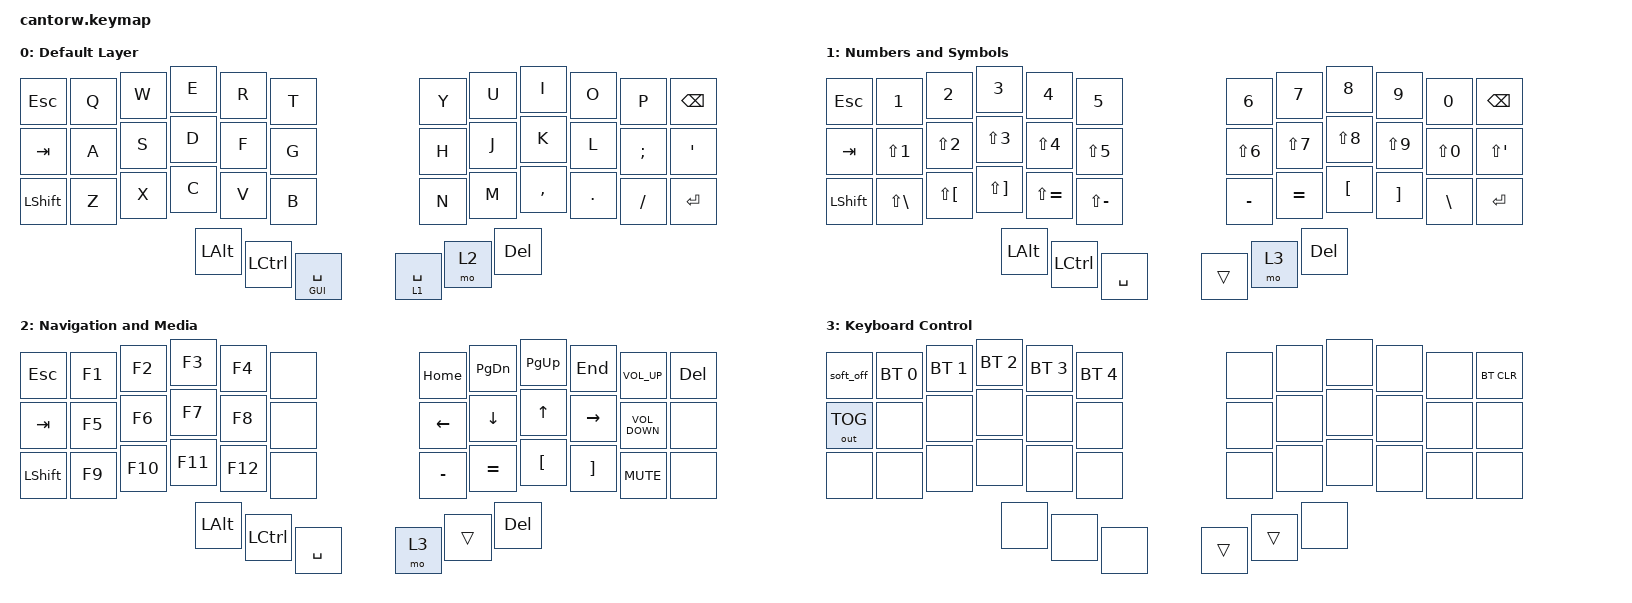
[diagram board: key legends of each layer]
#include <behaviours.dtsi>
#include <dt-bindings/zmk/keys.h>

&mt {
		tapping-term-ms = <250>;
};

/ {
	keymap {
		compatible = "zmk,keymap";

		default_layer { //LAYER 0
		
			display-name = "Default Layer";
			
				// Esc	Q	W	E	R	T		Y	U	I	O	P	Bs
				// Tab	A	S	D	F	G		H	J	K	L	;	'
				// LS	Z	X	C	V	B		N	M	,	.	/	Ent
				//				Alt	Ctl	Sup/Sp	L1/Sp	L2	Del

			bindings = <
				&kp ESC   &kp Q &kp W &kp E &kp R &kp T    &kp Y &kp U  &kp I     &kp O   &kp P    &kp BSPC
				&kp TAB   &kp A &kp S &kp D &kp F &kp G    &kp H &kp J  &kp K     &kp L   &kp SEMI &kp SQT
				&kp LSHFT &kp Z &kp X &kp C &kp V &kp B    &kp N &kp M  &kp COMMA &kp DOT &kp FSLH &kp RET
						&kp LALT &kp LCTRL &mt GUI SPACE   &lt 1 SPACE &mo 2 &kp DEL
			>;
		};
		
		raise_layer { //LAYER 1
		
			display-name = "Numbers and Symbols";
			
				// Esc	1	2	3	4	5		6	7	8	9	0	Bs
				// Tab	!	@	#	$	%		^	&	*	(	)	"
				// LS	|	{	}	+	_		-	=	[	]	\	Ent
				//				Alt	Ctl	Sp		nop	 L3	 Del

			bindings = <
				&kp ESC   &kp N1       &kp N2       &kp N3       &kp N4        &kp N5         &kp N6     &kp N7     &kp N8     &kp N9       &kp N0     &kp BSPC
				&kp TAB   &kp LS(N1)   &kp LS(N2)   &kp LS(N3)   &kp LS(N4)    &kp LS(N5)     &kp LS(N6) &kp LS(N7)  &kp LS(N8)  &kp LS(N9)   &kp LS(N0) &kp LS(SQT)
				&kp LSHFT &kp LS(BSLH) &kp LS(LBKT) &kp LS(RBKT) &kp LS(EQUAL) &kp LS(MINUS)   &kp MINUS  &kp EQUAL  &kp LBKT   &kp RBKT     &kp BSLH   &kp RET
															  &kp LALT &kp LCTRL &kp SPACE    &trans &mo 3 &kp DEL
			>;
		};
		
		lower_layer { //LAYER 2
		
			display-name = "Navigation and Media";
			
				// Esc	F1	F2	F3	F4	nop		Y	U	I	O	P	Bs
				// Tab	F5	F6	F7	F8	nop		H	J	K	L	;	"
				// LS	F9	F10	F11	F12	nop		N	M	,	.	/	Ent
				//				Alt	Ctl	Sp		L3	nop	 Del

			bindings = <
				&kp ESC   &kp F1  &kp F2  &kp F3  &kp F4  &none    &kp HOME   &kp PG_DN   &kp PG_UP  &kp END     &kp K_VOL_UP   &kp DEL
				&kp TAB   &kp F5  &kp F6  &kp F7  &kp F8  &none    &kp LEFT   &kp DOWN    &kp UP    &kp RIGHT   &kp K_VOL_DOWN &none
				&kp LSHFT &kp F9  &kp F10 &kp F11 &kp F12 &none    &kp MINUS  &kp EQUAL  &kp LBKT    &kp RBKT     &kp K_MUTE     &none
								   &kp LALT &kp LCTRL &kp SPACE    &mo 3 &trans &kp DEL
			>;
		};
		
		BT_layer { //LAYER 2
		
			display-name = "Keyboard Control";
			
				// OFF			BT1	BT2	BT3	BT4	BT5		nop	nop	nop	nop	nop	BT_CLR
				// Tog output	nop	nop	nop	nop	nop		nop	nop	nop	nop	nop	nop
				// nop			nop	nop	nop	nop	nop		nop	nop	nop	nop	nop	nop
				//						nop	nop	nop		nop	nop	nop

			bindings = <
				&soft_off   	&bt BT_SEL 0   &bt BT_SEL 1  &bt BT_SEL 2  &bt BT_SEL 3  &bt BT_SEL 4    &none   &none   &none  &none  &none   &bt BT_CLR
				&out OUT_TOG    &none   	   &none  		 &none  		&none  		 &none           &none   &none   &none  &none  &none   &none
				&none   		&none   	   &none  		 &none  		&none   	 &none    		 &none   &none   &none  &none  &none   &none
															&none  			&none  		 &none    		 &trans  &trans  &none
			>;
		};
		
	};
};
